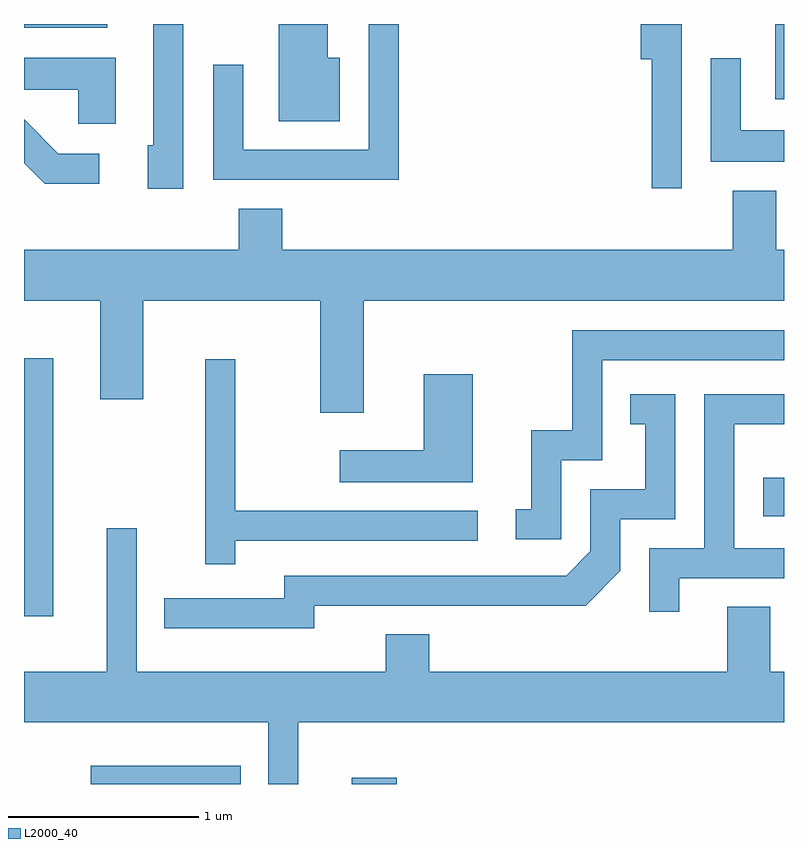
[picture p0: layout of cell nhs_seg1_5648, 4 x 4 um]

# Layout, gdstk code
import gdstk
lib = gdstk.Library(unit=1e-6, precision=1e-09)
def R(c, l, rs):  # rectangles x0, y0, x1, y1
    for r in rs: c.add(gdstk.rectangle(r[:2], r[2:], *l))
def P(c, l, *ps):  # polygons
    for p in ps: c.add(gdstk.Polygon(p, *l))
L2000_40 = (2000, 40)

nhs_seg1_5648 = lib.new_cell('nhs_seg1_5648')
R(nhs_seg1_5648, L2000_40, [(355.961,883.712,356.753,883.809), (357.336,883.712,357.574,883.744), (355.611,884.596,355.764,885.954), (359.501,885.121,359.611,885.324), (359.566,887.316,359.611,887.712), (355.611,887.691,356.048,887.712)])
P(nhs_seg1_5648, L2000_40, [(359.074,887.712),(358.856,887.712),(358.856,887.526),(358.916,887.526),(358.916,886.848),(359.074,886.848)],
  [(357.584,887.712),(357.426,887.712),(357.426,887.049),(356.764,887.049),(356.764,887.498),(356.606,887.498),(356.606,886.891),(357.584,886.891)],
  [(356.449,887.712),(356.291,887.712),(356.291,887.074),(356.261,887.074),(356.261,886.846),(356.449,886.846)],
  [(357.274,887.534),(357.209,887.534),(357.209,887.712),(356.951,887.712),(356.951,887.201),(357.274,887.201)],
  [(356.094,887.534),(355.611,887.534),(355.611,887.366),(355.896,887.366),(355.896,887.186),(356.094,887.186)],
  [(359.611,887.154),(359.384,887.154),(359.384,887.533),(359.226,887.533),(359.226,886.986),(359.611,886.986)],
  [(356.008,887.029),(355.792,887.029),(355.611,887.21),(355.611,886.979),(355.719,886.871),(356.008,886.871)],
  [(357.399,886.256),(359.611,886.256),(359.611,886.524),(359.569,886.524),(359.569,886.834),(359.341,886.834),(359.341,886.524),(356.969,886.524),(356.969,886.739),(356.741,886.739),(356.741,886.524),(355.611,886.524),(355.611,886.256),(356.011,886.256),(356.011,885.736),(356.239,885.736),(356.239,886.256),(357.171,886.256),(357.171,885.666),(357.399,885.666)],
  [(358.439,885.416),(358.654,885.416),(358.654,885.941),(359.611,885.941),(359.611,886.099),(358.496,886.099),(358.496,885.574),(358.281,885.574),(358.281,885.159),(358.198,885.159),(358.198,885.001),(358.439,885.001)],
  [(356.724,884.991),(357.998,884.991),(357.998,885.149),(356.724,885.149),(356.724,885.948),(356.566,885.948),(356.566,884.868),(356.724,884.868)],
  [(357.974,885.869),(357.716,885.869),(357.716,885.469),(357.273,885.469),(357.273,885.301),(357.974,885.301)],
  [(359.059,884.796),(359.611,884.796),(359.611,884.954),(359.349,884.954),(359.349,885.606),(359.611,885.606),(359.611,885.764),(359.191,885.764),(359.191,884.954),(358.901,884.954),(358.901,884.618),(359.059,884.618)],
  [(357.139,884.651),(358.567,884.651),(358.749,884.834),(358.749,885.106),(359.039,885.106),(359.039,885.764),(358.803,885.764),(358.803,885.606),(358.881,885.606),(358.881,885.264),(358.591,885.264),(358.591,884.937),(358.464,884.809),(356.981,884.809),(356.981,884.689),(356.348,884.689),(356.348,884.531),(357.139,884.531)],
  [(357.054,884.036),(359.611,884.036),(359.611,884.304),(359.539,884.304),(359.539,884.644),(359.311,884.644),(359.311,884.304),(357.744,884.304),(357.744,884.499),(357.516,884.499),(357.516,884.304),(356.204,884.304),(356.204,885.058),(356.046,885.058),(356.046,884.304),(355.611,884.304),(355.611,884.036),(356.896,884.036),(356.896,883.712),(357.054,883.712)])

lib.write_gds('nhs_seg1_5648.gds')
